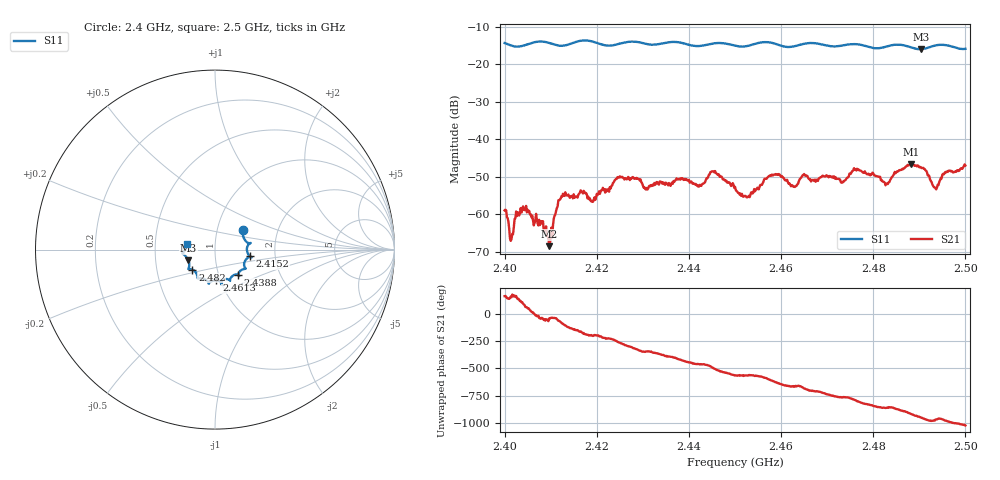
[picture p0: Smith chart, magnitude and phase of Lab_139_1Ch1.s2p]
# Hz S RI R 50
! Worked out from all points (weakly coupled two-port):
!   601 points, 2.4 GHz to 2.5 GHz, reference 50 ohm
!   highest |S21| = -46.53 dB at 2.4882 GHz (marker M1); lowest = -68.5 dB at 2.4097 GHz (marker M2)
!   lowest |S11| = -15.9 dB at 2.4903 GHz (marker M3), VSWR 1.38, Z = 36.8 - j4.44 ohm
!   |S11| at or under -10 dB: start of sweep to end of sweep
!   S12 and S22 are empty: the file has one direction only
!   S11 on the Smith chart (normalised r, x): 2.4 GHz: 1.33, +0.31; 2.4152 GHz: 1.48, -0.11; 2.4388 GHz: 1.24, -0.36; 2.4613 GHz: 0.96, -0.34; 2.482 GHz: 0.76, -0.17; 2.5 GHz: 0.72, +0.05
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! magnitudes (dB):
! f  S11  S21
! 2.4 GHz  -14.3  -58.9
! 2.4015 GHz  -15.0  -66.6
! 2.4043 GHz  -14.9  -58.9
! 2.4097 GHz  -14.2  -68.5
! 2.4122 GHz  -15.0  -55.8
! 2.4152 GHz  -14.1  -55.6
! 2.4167 GHz  -13.6  -53.8
! 2.425 GHz  -14.4  -49.8
! 2.4333 GHz  -14.6  -51.9
! 2.4388 GHz  -14.4  -50.8
! 2.4425 GHz  -15.0  -52.2
! 2.4453 GHz  -14.4  -48.5
! 2.45 GHz  -15.0  -52.7
! 2.4613 GHz  -15.3  -50.8
! 2.4667 GHz  -14.3  -50.8
! 2.4763 GHz  -14.6  -48.3
! 2.482 GHz  -15.5  -51.2
! 2.4833 GHz  -15.1  -51.5
! 2.4882 GHz  -15.4  -46.5
! 2.4903 GHz  -15.9  -47.4
! 2.4935 GHz  -14.9  -53.0
! 2.5 GHz  -15.8  -47.0
